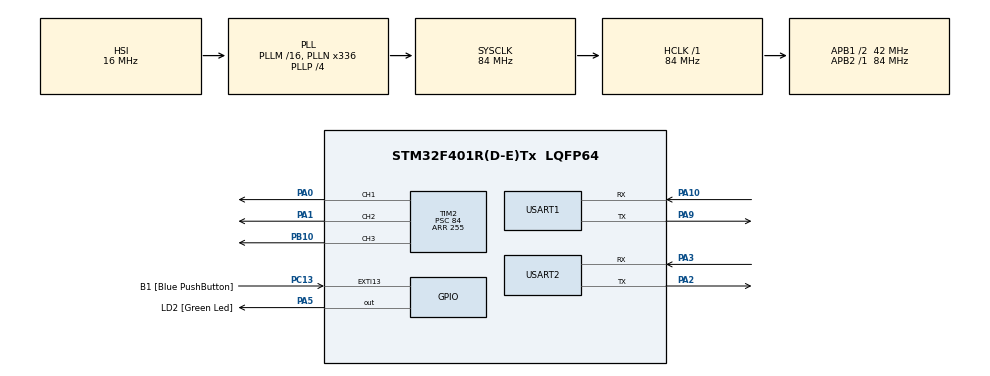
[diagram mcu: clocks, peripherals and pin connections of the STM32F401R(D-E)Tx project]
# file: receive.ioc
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Mcu.Family=STM32F4
Mcu.Name=STM32F401R(D-E)Tx
Mcu.Package=LQFP64
NVIC.PriorityGroup=NVIC_PRIORITYGROUP_0
PA0-WKUP.Signal=S_TIM2_CH1_ETR
PA1.Signal=S_TIM2_CH2
PA10.Mode=Asynchronous
PA10.Signal=USART1_RX
PA13.GPIO_Label=TMS
PA13.Mode=Serial_Wire
PA13.Signal=SYS_JTMS-SWDIO
PA14.GPIO_Label=TCK
PA14.Mode=Serial_Wire
PA14.Signal=SYS_JTCK-SWCLK
PA2.GPIO_Mode=GPIO_MODE_AF_PP
PA2.GPIO_ModeDefaultPP=GPIO_MODE_AF_PP
PA2.GPIO_PuPd=GPIO_NOPULL
PA2.GPIO_Speed=GPIO_SPEED_FREQ_VERY_HIGH
PA2.Mode=Asynchronous
PA2.Signal=USART2_TX
PA3.GPIO_Mode=GPIO_MODE_AF_PP
PA3.GPIO_ModeDefaultPP=GPIO_MODE_AF_PP
PA3.GPIO_PuPd=GPIO_NOPULL
PA3.GPIO_Speed=GPIO_SPEED_FREQ_VERY_HIGH
PA3.Mode=Asynchronous
PA3.Signal=USART2_RX
PA5.GPIO_Label=LD2 [Green Led]
PA5.GPIO_Mode=GPIO_MODE_OUTPUT_PP
PA5.GPIO_PuPd=GPIO_NOPULL
PA5.GPIO_Speed=GPIO_SPEED_FREQ_LOW
PA5.Signal=GPIO_Output
PA9.Mode=Asynchronous
PA9.Signal=USART1_TX
PB10.Signal=S_TIM2_CH3
PB3.GPIO_Label=SWO
PB3.Signal=SYS_JTDO-SWO
PC13-ANTI_TAMP.GPIO_Label=B1 [Blue PushButton]
PC13-ANTI_TAMP.GPIO_ModeDefaultEXTI=GPIO_MODE_IT_FALLING
PC13-ANTI_TAMP.GPIO_PuPd=GPIO_NOPULL
PC13-ANTI_TAMP.Signal=GPXTI13
PC14-OSC32_IN.Mode=LSE-External-Oscillator
PC14-OSC32_IN.Signal=RCC_OSC32_IN
PC15-OSC32_OUT.Mode=LSE-External-Oscillator
PC15-OSC32_OUT.Signal=RCC_OSC32_OUT
PH0\ -\ OSC_IN.Mode=HSE-External-Clock-Source
PH0\ -\ OSC_IN.Signal=RCC_OSC_IN
PH1\ -\ OSC_OUT.Mode=HSE-External-Clock-Source
PH1\ -\ OSC_OUT.Signal=RCC_OSC_OUT
ProjectManager.HeapSize=0x200
ProjectManager.StackSize=0x400
ProjectManager.TargetToolchain=STM32CubeIDE
RCC.48MHZClocksFreq_Value=48000000
RCC.AHBFreq_Value=84000000
RCC.APB1CLKDivider=RCC_HCLK_DIV2
RCC.APB1Freq_Value=42000000
RCC.APB1TimFreq_Value=84000000
RCC.APB2Freq_Value=84000000
RCC.APB2TimFreq_Value=84000000
RCC.CortexFreq_Value=84000000
RCC.HCLKFreq_Value=84000000
RCC.HSE_VALUE=8000000
RCC.HSI_VALUE=16000000
RCC.PLLN=336
RCC.PLLP=RCC_PLLP_DIV4
RCC.PLLQ=7
RCC.SYSCLKFreq_VALUE=84000000
RCC.SYSCLKSource=RCC_SYSCLKSOURCE_PLLCLK
RCC.VCOOutputFreq_Value=336000000
SH.S_TIM2_CH1_ETR.0=TIM2_CH1,PWM Generation1 CH1
SH.S_TIM2_CH2.0=TIM2_CH2,PWM Generation2 CH2
SH.S_TIM2_CH3.0=TIM2_CH3,PWM Generation3 CH3
TIM2.Channel-PWM\ Generation1\ CH1=TIM_CHANNEL_1
TIM2.Channel-PWM\ Generation2\ CH2=TIM_CHANNEL_2
TIM2.Channel-PWM\ Generation3\ CH3=TIM_CHANNEL_3
TIM2.Period=255
TIM2.Prescaler=84
USART1.VirtualMode=VM_ASYNC
USART2.VirtualMode=VM_ASYNC
board=NUCLEO-F401RE

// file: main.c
/* USER CODE BEGIN Header */
/**
  ******************************************************************************
  * @file           : main.c
  * @brief          : Main program body
  ******************************************************************************
  * @attention
  *
  * Copyright (c) 2024 STMicroelectronics.
  * All rights reserved.
  *
  * This software is licensed under terms that can be found in the LICENSE file
  * in the root directory of this software component.
  * If no LICENSE file comes with this software, it is provided AS-IS.
  *
  ******************************************************************************
  */
/* USER CODE END Header */
#include "main.h"

/* USER CODE BEGIN Includes */
#include <stdlib.h>
#include <stdio.h>
/* USER CODE END Includes */

TIM_HandleTypeDef htim2;

UART_HandleTypeDef huart1;
UART_HandleTypeDef huart2;

void SystemClock_Config(void);
static void MX_GPIO_Init(void);
static void MX_TIM2_Init(void);
static void MX_USART1_UART_Init(void);
static void MX_USART2_UART_Init(void);
/* USER CODE BEGIN PFP */
void rgb_colour(uint8_t red, uint8_t green, uint8_t blue);
/* USER CODE END PFP */

/* USER CODE BEGIN 0 */
uint8_t receivedData[10];  // Buffer to store received data

int _write(int file, char *data, int len) {
    HAL_UART_Transmit(&huart1, (uint8_t*)data, len, HAL_MAX_DELAY);
    return len;
}

void UART_ReceiveAndPrint(UART_HandleTypeDef *huart, uint8_t *buffer, uint16_t bufferSize) {
    // Wait for data
    HAL_UART_Receive(huart, buffer, bufferSize, HAL_MAX_DELAY);

    // Null-terminate the buffer for printing (assuming data is ASCII)
    buffer[bufferSize - 1] = '\0';

    // Print received data to the console
    printf("Received Data: %s\r\n", buffer);
}
/* USER CODE END 0 */

int main(void)
{

  /* MCU Configuration--------------------------------------------------------*/

  /* Reset of all peripherals, Initializes the Flash interface and the Systick. */
  HAL_Init();

  /* Configure the system clock */
  SystemClock_Config();

  /* Initialize all configured peripherals */
  MX_GPIO_Init();
  MX_TIM2_Init();
  MX_USART1_UART_Init();
  MX_USART2_UART_Init();
  /* USER CODE BEGIN 2 */
  HAL_TIM_PWM_Start(&htim2, TIM_CHANNEL_1);
  HAL_TIM_PWM_Start(&htim2, TIM_CHANNEL_2);
  HAL_TIM_PWM_Start(&htim2, TIM_CHANNEL_3);

  /* USER CODE END 2 */

  /* Infinite loop */
  while (1)
  {

    /* USER CODE BEGIN 3 */
	  HAL_UART_Transmit(&huart1, (uint8_t *)"Test UART\r\n", strlen("Test UART\r\n"), HAL_MAX_DELAY);
	  HAL_Delay(1000);
	  HAL_UART_Receive(&huart1, receivedData, sizeof(receivedData) - 1, HAL_MAX_DELAY);
	  receivedData[sizeof(receivedData) - 1] = '\0';
	  char *parsedData = strtok((char *)receivedData, "\r\n"); // Tokenize by newline
	      if (parsedData != NULL) {
	          uint8_t number = (uint8_t)atoi(parsedData);

	          number = number - 100;
	          printf("Received Data: %s\r\n", parsedData); // Debug print
	          printf("Parsed Number: %d\r\n", number);

	          // Set RGB LED color based on number
	          if (number <= 10) {
	              rgb_colour(255, 0, 0); // Red to A0
	              HAL_Delay(1000);
	          } else if (number > 10 && number <= 18) {
	              rgb_colour(0, 0, 255); // Blue to D6
	              HAL_Delay(1000);
	          } else {
	              rgb_colour(0, 255, 0); // Green to A1
	              HAL_Delay(1000);
	          }
	          number = 0;
	      } else {
	          printf("Error: Invalid or empty data received.\r\n");
	      }

  }
  /* USER CODE END 3 */
}

void SystemClock_Config(void)
{
  RCC_OscInitTypeDef RCC_OscInitStruct = {0};
  RCC_ClkInitTypeDef RCC_ClkInitStruct = {0};

  /** Configure the main internal regulator output voltage
  */
  __HAL_RCC_PWR_CLK_ENABLE();
  __HAL_PWR_VOLTAGESCALING_CONFIG(PWR_REGULATOR_VOLTAGE_SCALE2);

  /** Initializes the RCC Oscillators according to the specified parameters
  * in the RCC_OscInitTypeDef structure.
  */
  RCC_OscInitStruct.OscillatorType = RCC_OSCILLATORTYPE_HSI;
  RCC_OscInitStruct.HSIState = RCC_HSI_ON;
  RCC_OscInitStruct.HSICalibrationValue = RCC_HSICALIBRATION_DEFAULT;
  RCC_OscInitStruct.PLL.PLLState = RCC_PLL_ON;
  RCC_OscInitStruct.PLL.PLLSource = RCC_PLLSOURCE_HSI;
  RCC_OscInitStruct.PLL.PLLM = 16;
  RCC_OscInitStruct.PLL.PLLN = 336;
  RCC_OscInitStruct.PLL.PLLP = RCC_PLLP_DIV4;
  RCC_OscInitStruct.PLL.PLLQ = 7;
  if (HAL_RCC_OscConfig(&RCC_OscInitStruct) != HAL_OK)
  {
    Error_Handler();
  }

  /** Initializes the CPU, AHB and APB buses clocks
  */
  RCC_ClkInitStruct.ClockType = RCC_CLOCKTYPE_HCLK|RCC_CLOCKTYPE_SYSCLK
                              |RCC_CLOCKTYPE_PCLK1|RCC_CLOCKTYPE_PCLK2;
  RCC_ClkInitStruct.SYSCLKSource = RCC_SYSCLKSOURCE_PLLCLK;
  RCC_ClkInitStruct.AHBCLKDivider = RCC_SYSCLK_DIV1;
  RCC_ClkInitStruct.APB1CLKDivider = RCC_HCLK_DIV2;
  RCC_ClkInitStruct.APB2CLKDivider = RCC_HCLK_DIV1;

  if (HAL_RCC_ClockConfig(&RCC_ClkInitStruct, FLASH_LATENCY_2) != HAL_OK)
  {
    Error_Handler();
  }
}

static void MX_TIM2_Init(void)
{

  TIM_MasterConfigTypeDef sMasterConfig = {0};
  TIM_OC_InitTypeDef sConfigOC = {0};

  htim2.Instance = TIM2;
  htim2.Init.Prescaler = 84;
  htim2.Init.CounterMode = TIM_COUNTERMODE_UP;
  htim2.Init.Period = 255;
  htim2.Init.ClockDivision = TIM_CLOCKDIVISION_DIV1;
  htim2.Init.AutoReloadPreload = TIM_AUTORELOAD_PRELOAD_DISABLE;
  if (HAL_TIM_PWM_Init(&htim2) != HAL_OK)
  {
    Error_Handler();
  }
  sMasterConfig.MasterOutputTrigger = TIM_TRGO_RESET;
  sMasterConfig.MasterSlaveMode = TIM_MASTERSLAVEMODE_DISABLE;
  if (HAL_TIMEx_MasterConfigSynchronization(&htim2, &sMasterConfig) != HAL_OK)
  {
    Error_Handler();
  }
  sConfigOC.OCMode = TIM_OCMODE_PWM1;
  sConfigOC.Pulse = 0;
  sConfigOC.OCPolarity = TIM_OCPOLARITY_HIGH;
  sConfigOC.OCFastMode = TIM_OCFAST_DISABLE;
  if (HAL_TIM_PWM_ConfigChannel(&htim2, &sConfigOC, TIM_CHANNEL_1) != HAL_OK)
  {
    Error_Handler();
  }
  if (HAL_TIM_PWM_ConfigChannel(&htim2, &sConfigOC, TIM_CHANNEL_2) != HAL_OK)
  {
    Error_Handler();
  }
  if (HAL_TIM_PWM_ConfigChannel(&htim2, &sConfigOC, TIM_CHANNEL_3) != HAL_OK)
  {
    Error_Handler();
  }
  HAL_TIM_MspPostInit(&htim2);

}

static void MX_USART1_UART_Init(void)
{

  huart1.Instance = USART1;
  huart1.Init.BaudRate = 115200;
  huart1.Init.WordLength = UART_WORDLENGTH_8B;
  huart1.Init.StopBits = UART_STOPBITS_1;
  huart1.Init.Parity = UART_PARITY_NONE;
  huart1.Init.Mode = UART_MODE_TX_RX;
  huart1.Init.HwFlowCtl = UART_HWCONTROL_NONE;
  huart1.Init.OverSampling = UART_OVERSAMPLING_16;
  if (HAL_UART_Init(&huart1) != HAL_OK)
  {
    Error_Handler();
  }

}

static void MX_USART2_UART_Init(void)
{

  huart2.Instance = USART2;
  huart2.Init.BaudRate = 115200;
  huart2.Init.WordLength = UART_WORDLENGTH_8B;
  huart2.Init.StopBits = UART_STOPBITS_1;
  huart2.Init.Parity = UART_PARITY_NONE;
  huart2.Init.Mode = UART_MODE_TX_RX;
  huart2.Init.HwFlowCtl = UART_HWCONTROL_NONE;
  huart2.Init.OverSampling = UART_OVERSAMPLING_16;
  if (HAL_UART_Init(&huart2) != HAL_OK)
  {
    Error_Handler();
  }

}

static void MX_GPIO_Init(void)
{
  GPIO_InitTypeDef GPIO_InitStruct = {0};

  /* GPIO Ports Clock Enable */
  __HAL_RCC_GPIOC_CLK_ENABLE();
  __HAL_RCC_GPIOH_CLK_ENABLE();
  __HAL_RCC_GPIOA_CLK_ENABLE();
  __HAL_RCC_GPIOB_CLK_ENABLE();

  /*Configure GPIO pin Output Level */
  HAL_GPIO_WritePin(LD2_GPIO_Port, LD2_Pin, GPIO_PIN_RESET);

  /*Configure GPIO pin : B1_Pin */
  GPIO_InitStruct.Pin = B1_Pin;
  GPIO_InitStruct.Mode = GPIO_MODE_IT_FALLING;
  GPIO_InitStruct.Pull = GPIO_NOPULL;
  HAL_GPIO_Init(B1_GPIO_Port, &GPIO_InitStruct);

  /*Configure GPIO pin : LD2_Pin */
  GPIO_InitStruct.Pin = LD2_Pin;
  GPIO_InitStruct.Mode = GPIO_MODE_OUTPUT_PP;
  GPIO_InitStruct.Pull = GPIO_NOPULL;
  GPIO_InitStruct.Speed = GPIO_SPEED_FREQ_LOW;
  HAL_GPIO_Init(LD2_GPIO_Port, &GPIO_InitStruct);

/* USER CODE BEGIN MX_GPIO_Init_2 */
  GPIO_InitStruct.Pin = GPIO_PIN_3;   // Pin assigned to USART1_TX
  GPIO_InitStruct.Mode = GPIO_MODE_AF_PP;
  GPIO_InitStruct.Pull = GPIO_NOPULL;
  GPIO_InitStruct.Speed = GPIO_SPEED_FREQ_LOW;
  GPIO_InitStruct.Alternate = GPIO_AF7_USART1;  // Ensure correct alternate function
  HAL_GPIO_Init(GPIOA, &GPIO_InitStruct);
/* USER CODE END MX_GPIO_Init_2 */
}

/* USER CODE BEGIN 4 */
void rgb_colour(uint8_t red, uint8_t green, uint8_t blue){
	htim2.Instance->CCR1 = red;
	htim2.Instance->CCR2 = green;
	htim2.Instance->CCR3 = blue;
}
/* USER CODE END 4 */

void Error_Handler(void)
{
  __disable_irq();
  while (1)
  {
  }
}
